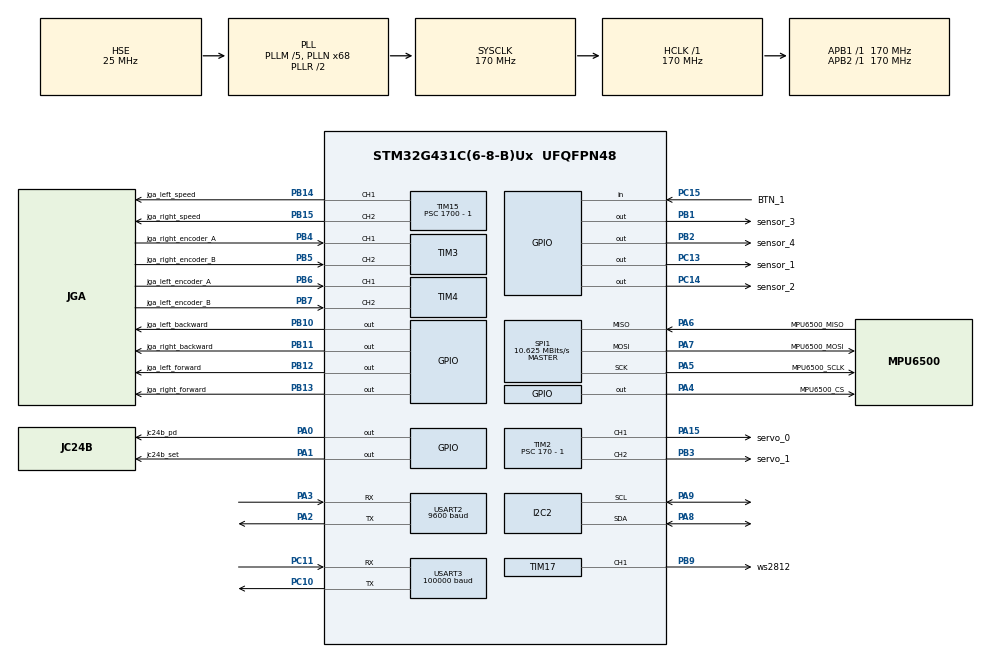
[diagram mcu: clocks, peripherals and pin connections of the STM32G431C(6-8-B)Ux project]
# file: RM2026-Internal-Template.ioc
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Dma.Request0=USART3_RX
Dma.Request1=TIM2_CH1
Dma.Request2=USART2_RX
Dma.TIM2_CH1.1.Direction=DMA_PERIPH_TO_MEMORY
Dma.TIM2_CH1.1.EventEnable=DISABLE
Dma.TIM2_CH1.1.Instance=DMA1_Channel1
Dma.TIM2_CH1.1.MemDataAlignment=DMA_MDATAALIGN_WORD
Dma.TIM2_CH1.1.MemInc=DMA_MINC_ENABLE
Dma.TIM2_CH1.1.Mode=DMA_NORMAL
Dma.TIM2_CH1.1.PeriphDataAlignment=DMA_PDATAALIGN_WORD
Dma.TIM2_CH1.1.PeriphInc=DMA_PINC_DISABLE
Dma.TIM2_CH1.1.Polarity=HAL_DMAMUX_REQ_GEN_RISING
Dma.TIM2_CH1.1.Priority=DMA_PRIORITY_LOW
Dma.TIM2_CH1.1.RequestNumber=1
Dma.TIM2_CH1.1.SignalID=NONE
Dma.TIM2_CH1.1.SyncEnable=DISABLE
Dma.TIM2_CH1.1.SyncPolarity=HAL_DMAMUX_SYNC_NO_EVENT
Dma.TIM2_CH1.1.SyncRequestNumber=1
Dma.TIM2_CH1.1.SyncSignalID=NONE
Dma.USART2_RX.2.Direction=DMA_PERIPH_TO_MEMORY
Dma.USART2_RX.2.EventEnable=DISABLE
Dma.USART2_RX.2.Instance=DMA1_Channel3
Dma.USART2_RX.2.MemDataAlignment=DMA_MDATAALIGN_BYTE
Dma.USART2_RX.2.MemInc=DMA_MINC_ENABLE
Dma.USART2_RX.2.Mode=DMA_NORMAL
Dma.USART2_RX.2.PeriphDataAlignment=DMA_PDATAALIGN_BYTE
Dma.USART2_RX.2.PeriphInc=DMA_PINC_DISABLE
Dma.USART2_RX.2.Polarity=HAL_DMAMUX_REQ_GEN_RISING
Dma.USART2_RX.2.Priority=DMA_PRIORITY_LOW
Dma.USART2_RX.2.RequestNumber=1
Dma.USART2_RX.2.SignalID=NONE
Dma.USART2_RX.2.SyncEnable=DISABLE
Dma.USART2_RX.2.SyncPolarity=HAL_DMAMUX_SYNC_NO_EVENT
Dma.USART2_RX.2.SyncRequestNumber=1
Dma.USART2_RX.2.SyncSignalID=NONE
Dma.USART3_RX.0.Direction=DMA_PERIPH_TO_MEMORY
Dma.USART3_RX.0.EventEnable=DISABLE
Dma.USART3_RX.0.Instance=DMA1_Channel2
Dma.USART3_RX.0.MemDataAlignment=DMA_MDATAALIGN_BYTE
Dma.USART3_RX.0.MemInc=DMA_MINC_ENABLE
Dma.USART3_RX.0.Mode=DMA_NORMAL
Dma.USART3_RX.0.PeriphDataAlignment=DMA_PDATAALIGN_BYTE
Dma.USART3_RX.0.PeriphInc=DMA_PINC_DISABLE
Dma.USART3_RX.0.Polarity=HAL_DMAMUX_REQ_GEN_RISING
Dma.USART3_RX.0.Priority=DMA_PRIORITY_LOW
Dma.USART3_RX.0.RequestNumber=1
Dma.USART3_RX.0.SignalID=NONE
Dma.USART3_RX.0.SyncEnable=DISABLE
Dma.USART3_RX.0.SyncPolarity=HAL_DMAMUX_SYNC_NO_EVENT
Dma.USART3_RX.0.SyncRequestNumber=1
Dma.USART3_RX.0.SyncSignalID=NONE
I2C2.Timing=0x40B285C2
Mcu.Family=STM32G4
Mcu.Name=STM32G431C(6-8-B)Ux
Mcu.Package=UFQFPN48
NVIC.DMA1_Channel1_IRQn=true\:0\:0\:false\:false\:true\:false\:true\:true
NVIC.DMA1_Channel2_IRQn=true\:0\:0\:false\:false\:true\:false\:true\:true
NVIC.DMA1_Channel3_IRQn=true\:0\:0\:false\:false\:true\:false\:true\:true
NVIC.PriorityGroup=NVIC_PRIORITYGROUP_4
NVIC.TIM8_UP_IRQn=true\:15\:0\:false\:false\:true\:false\:true\:true
NVIC.TimeBase=TIM8_UP_IRQn
NVIC.TimeBaseIP=TIM8
NVIC.USART3_IRQn=true\:0\:0\:false\:false\:true\:true\:true\:true
PA0.GPIO_Label=jc24b_pd
PA0.Signal=GPIO_Output
PA1.GPIO_Label=jc24b_set
PA1.Signal=GPIO_Output
PA13.Mode=Serial_Wire
PA13.Signal=SYS_JTMS-SWDIO
PA14.Mode=Serial_Wire
PA14.Signal=SYS_JTCK-SWCLK
PA15.GPIO_Label=servo_0
PA15.Signal=S_TIM2_CH1
PA2.Mode=Asynchronous
PA2.Signal=USART2_TX
PA3.Mode=Asynchronous
PA3.Signal=USART2_RX
PA4.GPIO_Label=MPU6500_CS 
PA4.GPIO_Speed=GPIO_SPEED_FREQ_HIGH
PA4.PinState=GPIO_PIN_SET
PA4.Signal=GPIO_Output
PA5.GPIO_Label=MPU6500_SCLK
PA5.Mode=Full_Duplex_Master
PA5.Signal=SPI1_SCK
PA6.GPIO_Label=MPU6500_MISO
PA6.Mode=Full_Duplex_Master
PA6.Signal=SPI1_MISO
PA7.GPIO_Label=MPU6500_MOSI
PA7.Mode=Full_Duplex_Master
PA7.Signal=SPI1_MOSI
PA8.Mode=I2C
PA8.Signal=I2C2_SDA
PA9.Mode=I2C
PA9.Signal=I2C2_SCL
PB1.GPIO_Label=sensor_3
PB1.Signal=GPIO_Output
PB10.GPIO_Label=jga_left_backward
PB10.Signal=GPIO_Output
PB11.GPIO_Label=jga_right_backward
PB11.Signal=GPIO_Output
PB12.GPIO_Label=jga_left_forward
PB12.Signal=GPIO_Output
PB13.GPIO_Label=jga_right_forward
PB13.Signal=GPIO_Output
PB14.GPIO_Label=jga_left_speed
PB14.Signal=S_TIM15_CH1
PB15.GPIO_Label=jga_right_speed
PB15.Signal=S_TIM15_CH2
PB2.GPIO_Label=sensor_4
PB2.Signal=GPIO_Output
PB3.GPIO_Label=servo_1
PB3.Signal=S_TIM2_CH2
PB4.GPIO_Label=jga_right_encoder_A
PB4.Signal=S_TIM3_CH1
PB5.GPIO_Label=jga_right_encoder_B
PB5.Signal=S_TIM3_CH2
PB6.GPIO_Label=jga_left_encoder_A
PB6.Signal=S_TIM4_CH1
PB7.GPIO_Label=jga_left_encoder_B
PB7.Signal=S_TIM4_CH2
PB9.GPIO_Label=ws2812
PB9.Signal=S_TIM17_CH1
PC10.Mode=Asynchronous
PC10.Signal=USART3_TX
PC11.Mode=Asynchronous
PC11.Signal=USART3_RX
PC13.GPIO_Label=sensor_1
PC13.Signal=GPIO_Output
PC14-OSC32_IN.GPIO_Label=sensor_2
PC14-OSC32_IN.Signal=GPIO_Output
PC15-OSC32_OUT.GPIO_Label=BTN_1
PC15-OSC32_OUT.Signal=GPIO_Input
PF0-OSC_IN.Mode=HSE-External-Oscillator
PF0-OSC_IN.Signal=RCC_OSC_IN
PF1-OSC_OUT.Mode=HSE-External-Oscillator
PF1-OSC_OUT.Signal=RCC_OSC_OUT
ProjectManager.HeapSize=0x200
ProjectManager.StackSize=0x400
ProjectManager.TargetToolchain=Makefile
RCC.ADC12Freq_Value=170000000
RCC.AHBFreq_Value=170000000
RCC.APB1Freq_Value=170000000
RCC.APB1TimFreq_Value=170000000
RCC.APB2Freq_Value=170000000
RCC.APB2TimFreq_Value=170000000
RCC.CortexFreq_Value=170000000
RCC.EXTERNAL_CLOCK_VALUE=12288000
RCC.HCLKFreq_Value=170000000
RCC.HSE_VALUE=25000000
RCC.HSI48_VALUE=48000000
RCC.HSI_VALUE=16000000
RCC.LSE_VALUE=32768
RCC.PLLM=RCC_PLLM_DIV5
RCC.PLLN=68
RCC.PLLSourceVirtual=RCC_PLLSOURCE_HSE
RCC.SYSCLKFreq_VALUE=170000000
RCC.SYSCLKSource=RCC_SYSCLKSOURCE_PLLCLK
RCC.USBFreq_Value=170000000
RCC.VCOOutputFreq_Value=340000000
SH.S_TIM15_CH1.0=TIM15_CH1,PWM Generation1 CH1
SH.S_TIM15_CH2.0=TIM15_CH2,PWM Generation2 CH2
SH.S_TIM17_CH1.0=TIM17_CH1,PWM Generation1 CH1
SH.S_TIM2_CH1.0=TIM2_CH1,PWM Generation1 CH1
SH.S_TIM2_CH2.0=TIM2_CH2,PWM Generation2 CH2
SH.S_TIM3_CH1.0=TIM3_CH1,Encoder_Interface
SH.S_TIM3_CH2.0=TIM3_CH2,Encoder_Interface
SH.S_TIM4_CH1.0=TIM4_CH1,Encoder_Interface
SH.S_TIM4_CH2.0=TIM4_CH2,Encoder_Interface
SPI1.BaudRatePrescaler=SPI_BAUDRATEPRESCALER_16
SPI1.CalculateBaudRate=10.625 MBits/s
SPI1.DataSize=SPI_DATASIZE_8BIT
SPI1.Direction=SPI_DIRECTION_2LINES
SPI1.Mode=SPI_MODE_MASTER
SPI1.VirtualType=VM_MASTER
STMicroelectronics.X-CUBE-ALGOBUILD.1.3.0.LibraryCcDSPOoLibraryJjDSPOoLibrary=true
TIM15.Channel-PWM\ Generation1\ CH1=TIM_CHANNEL_1
TIM15.Channel-PWM\ Generation2\ CH2=TIM_CHANNEL_2
TIM15.PeriodNoDither=1000 - 1
TIM15.Prescaler=1700 - 1
TIM17.Channel=TIM_CHANNEL_1
TIM2.Channel-PWM\ Generation1\ CH1=TIM_CHANNEL_1
TIM2.Channel-PWM\ Generation2\ CH2=TIM_CHANNEL_2
TIM2.PeriodNoDither=20000 - 1
TIM2.Prescaler=170 - 1
USART2.BaudRate=9600
USART2.VirtualMode-Asynchronous=VM_ASYNC
USART3.BaudRate=100000
USART3.Parity=PARITY_EVEN
USART3.StopBits=STOPBITS_2
USART3.VirtualMode-Asynchronous=VM_ASYNC
USART3.WordLength=WORDLENGTH_9B
VP_STMicroelectronics.X-CUBE-ALGOBUILD_VS_DSPOoLibraryJjLibrary_1.3.0_1.3.0.Mode=DSPOoLibraryJjLibrary
VP_SYS_VS_DBSignals.Mode=DisableDeadBatterySignals
VP_SYS_VS_tim8.Mode=TIM8
VP_TIM17_VS_ClockSourceINT.Mode=Enable_Timer
board=custom

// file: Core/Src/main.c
/* USER CODE BEGIN Header */
/**
  ******************************************************************************
  * @file           : main.c
  * @brief          : Main program body
  ******************************************************************************
  * @attention
  *
  * Copyright (c) 2024 STMicroelectronics.
  * All rights reserved.
  *
  * This software is licensed under terms that can be found in the LICENSE file
  * in the root directory of this software component.
  * If no LICENSE file comes with this software, it is provided AS-IS.
  *
  ******************************************************************************
  */
/* USER CODE END Header */
#include "main.h"
#include "dma.h"
#include "i2c.h"
#include "spi.h"
#include "tim.h"
#include "usart.h"
#include "gpio.h"

void SystemClock_Config(void);

/* USER CODE BEGIN 0 */

// 配置PB10为推挽输出，用于给JC24B供电
void JC24B_Power_Init(void) {
    GPIO_InitTypeDef GPIO_InitStruct = {0};

    __HAL_RCC_GPIOB_CLK_ENABLE();

    GPIO_InitStruct.Pin = GPIO_PIN_10;
    GPIO_InitStruct.Mode = GPIO_MODE_OUTPUT_PP;
    GPIO_InitStruct.Pull = GPIO_NOPULL;
    GPIO_InitStruct.Speed = GPIO_SPEED_FREQ_LOW;
    HAL_GPIO_Init(GPIOB, &GPIO_InitStruct);

    // 输出高电平（3.3V）
    HAL_GPIO_WritePin(GPIOB, GPIO_PIN_10, GPIO_PIN_SET);

}

/* USER CODE END 0 */

int main(void)
{

  /* MCU Configuration--------------------------------------------------------*/

  /* Reset of all peripherals, Initializes the Flash interface and the Systick. */
  HAL_Init();

  /* Configure the system clock */
  SystemClock_Config();

  /* Initialize all configured peripherals */
  MX_GPIO_Init();
  MX_DMA_Init();
  MX_USART3_UART_Init();
  MX_SPI1_Init();
  MX_TIM2_Init();
  MX_TIM15_Init();
  MX_I2C2_Init();
  MX_USART2_UART_Init();
  MX_TIM17_Init();
  MX_TIM3_Init();
  MX_TIM4_Init();
  /* USER CODE BEGIN 2 */
  // Write the option bytes, !!DO NOT MODIFY!!
  FLASH_OBProgramInitTypeDef pOBInit;
  HAL_FLASHEx_OBGetConfig(&pOBInit);
  if (!((pOBInit.USERConfig & FLASH_OPTR_nSWBOOT0_Msk) == OB_BOOT0_FROM_PIN &&
        (pOBInit.USERConfig & FLASH_OPTR_nBOOT0_Msk) == OB_nBOOT0_SET &&
        (pOBInit.USERConfig & FLASH_OPTR_NRST_MODE_Msk) == OB_NRST_MODE_INPUT_OUTPUT &&
        (pOBInit.USERConfig & FLASH_OPTR_BOR_LEV_Msk) == OB_BOR_LEVEL_4 &&
        (pOBInit.USERConfig & FLASH_OPTR_nRST_STOP_Msk) == OB_STOP_RST &&
        (pOBInit.USERConfig & FLASH_OPTR_nRST_STDBY_Msk) == OB_STANDBY_RST &&
        (pOBInit.USERConfig & FLASH_OPTR_nRST_SHDW_Msk) == OB_SHUTDOWN_RST
  )) {
      __disable_irq();
      HAL_FLASH_Unlock();
      HAL_FLASH_OB_Unlock();

      pOBInit.OptionType = OPTIONBYTE_USER;
      pOBInit.USERType = 0;
      pOBInit.USERConfig = 0;

      pOBInit.USERType |= OB_USER_nSWBOOT0;
      pOBInit.USERConfig |= OB_BOOT0_FROM_PIN;
      pOBInit.USERType |= OB_USER_nBOOT0;
      pOBInit.USERConfig |= OB_nBOOT0_SET;
      pOBInit.USERType |= OB_USER_NRST_MODE;
      pOBInit.USERConfig |= OB_NRST_MODE_INPUT_OUTPUT;
      pOBInit.USERType |= OB_USER_BOR_LEV;
      pOBInit.USERConfig |= OB_BOR_LEVEL_4;
      pOBInit.USERType |= OB_USER_nRST_STOP;
      pOBInit.USERConfig |= OB_STOP_RST;
      pOBInit.USERType |= OB_USER_nRST_STDBY;
      pOBInit.USERConfig |= OB_STANDBY_RST;
      pOBInit.USERType |= OB_USER_nRST_SHDW;
      pOBInit.USERConfig |= OB_SHUTDOWN_RST;
      pOBInit.USERType |= OB_USER_IRHEN;
      pOBInit.USERConfig |= OB_IRH_ENABLE;
      HAL_FLASHEx_OBProgram(&pOBInit);
      HAL_FLASH_OB_Launch();
      HAL_FLASH_OB_Lock();
      HAL_FLASH_Lock();
      __enable_irq();
  }

  extern void startRTOS();
  startRTOS();
  /* USER CODE END 2 */

  /* Infinite loop */
  while (1)
  {

  }
}

void SystemClock_Config(void)
{
  RCC_OscInitTypeDef RCC_OscInitStruct = {0};
  RCC_ClkInitTypeDef RCC_ClkInitStruct = {0};

  /** Configure the main internal regulator output voltage
  */
  HAL_PWREx_ControlVoltageScaling(PWR_REGULATOR_VOLTAGE_SCALE1_BOOST);

  /** Initializes the RCC Oscillators according to the specified parameters
  * in the RCC_OscInitTypeDef structure.
  */
  RCC_OscInitStruct.OscillatorType = RCC_OSCILLATORTYPE_HSE;
  RCC_OscInitStruct.HSEState = RCC_HSE_ON;
  RCC_OscInitStruct.PLL.PLLState = RCC_PLL_ON;
  RCC_OscInitStruct.PLL.PLLSource = RCC_PLLSOURCE_HSE;
  RCC_OscInitStruct.PLL.PLLM = RCC_PLLM_DIV5;
  RCC_OscInitStruct.PLL.PLLN = 68;
  RCC_OscInitStruct.PLL.PLLP = RCC_PLLP_DIV2;
  RCC_OscInitStruct.PLL.PLLQ = RCC_PLLQ_DIV2;
  RCC_OscInitStruct.PLL.PLLR = RCC_PLLR_DIV2;
  if (HAL_RCC_OscConfig(&RCC_OscInitStruct) != HAL_OK)
  {
    Error_Handler();
  }

  /** Initializes the CPU, AHB and APB buses clocks
  */
  RCC_ClkInitStruct.ClockType = RCC_CLOCKTYPE_HCLK|RCC_CLOCKTYPE_SYSCLK
                              |RCC_CLOCKTYPE_PCLK1|RCC_CLOCKTYPE_PCLK2;
  RCC_ClkInitStruct.SYSCLKSource = RCC_SYSCLKSOURCE_PLLCLK;
  RCC_ClkInitStruct.AHBCLKDivider = RCC_SYSCLK_DIV1;
  RCC_ClkInitStruct.APB1CLKDivider = RCC_HCLK_DIV1;
  RCC_ClkInitStruct.APB2CLKDivider = RCC_HCLK_DIV1;

  if (HAL_RCC_ClockConfig(&RCC_ClkInitStruct, FLASH_LATENCY_4) != HAL_OK)
  {
    Error_Handler();
  }
}

void HAL_TIM_PeriodElapsedCallback(TIM_HandleTypeDef *htim)
{
  if (htim->Instance == TIM8) {
    HAL_IncTick();
  }
}

void Error_Handler(void)
{
  __disable_irq();
  while (1)
  {
  }
}
